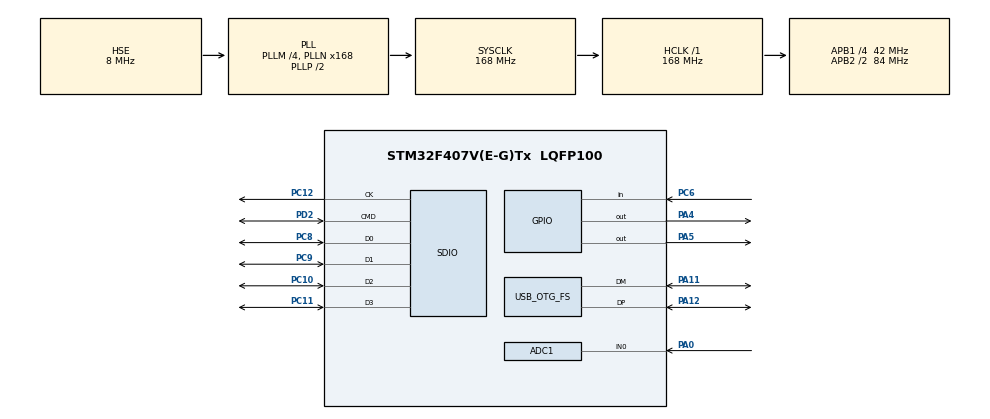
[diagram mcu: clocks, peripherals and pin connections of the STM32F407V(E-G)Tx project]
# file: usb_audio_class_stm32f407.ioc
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ADC1.Channel-0\#ChannelRegularConversion=ADC_CHANNEL_0
ADC1.DMAContinuousRequests=ENABLE
ADC1.ExternalTrigConv=ADC_EXTERNALTRIGCONV_T3_TRGO
ADC1.NbrOfConversionFlag=1
ADC1.Rank-0\#ChannelRegularConversion=1
ADC1.SamplingTime-0\#ChannelRegularConversion=ADC_SAMPLETIME_28CYCLES
ADC1.master=1
Dma.ADC1.2.Direction=DMA_PERIPH_TO_MEMORY
Dma.ADC1.2.FIFOMode=DMA_FIFOMODE_DISABLE
Dma.ADC1.2.Instance=DMA2_Stream0
Dma.ADC1.2.MemDataAlignment=DMA_MDATAALIGN_HALFWORD
Dma.ADC1.2.MemInc=DMA_MINC_ENABLE
Dma.ADC1.2.Mode=DMA_CIRCULAR
Dma.ADC1.2.PeriphDataAlignment=DMA_PDATAALIGN_HALFWORD
Dma.ADC1.2.PeriphInc=DMA_PINC_DISABLE
Dma.ADC1.2.Priority=DMA_PRIORITY_LOW
Dma.Request0=SDIO_RX
Dma.Request1=SDIO_TX
Dma.Request2=ADC1
Dma.SDIO_RX.0.Direction=DMA_PERIPH_TO_MEMORY
Dma.SDIO_RX.0.FIFOMode=DMA_FIFOMODE_ENABLE
Dma.SDIO_RX.0.FIFOThreshold=DMA_FIFO_THRESHOLD_FULL
Dma.SDIO_RX.0.Instance=DMA2_Stream3
Dma.SDIO_RX.0.MemBurst=DMA_MBURST_SINGLE
Dma.SDIO_RX.0.MemDataAlignment=DMA_MDATAALIGN_BYTE
Dma.SDIO_RX.0.MemInc=DMA_MINC_ENABLE
Dma.SDIO_RX.0.Mode=DMA_PFCTRL
Dma.SDIO_RX.0.PeriphBurst=DMA_PBURST_INC4
Dma.SDIO_RX.0.PeriphDataAlignment=DMA_PDATAALIGN_WORD
Dma.SDIO_RX.0.PeriphInc=DMA_PINC_DISABLE
Dma.SDIO_RX.0.Priority=DMA_PRIORITY_LOW
Dma.SDIO_TX.1.Direction=DMA_MEMORY_TO_PERIPH
Dma.SDIO_TX.1.FIFOMode=DMA_FIFOMODE_ENABLE
Dma.SDIO_TX.1.FIFOThreshold=DMA_FIFO_THRESHOLD_FULL
Dma.SDIO_TX.1.Instance=DMA2_Stream6
Dma.SDIO_TX.1.MemBurst=DMA_MBURST_INC4
Dma.SDIO_TX.1.MemDataAlignment=DMA_MDATAALIGN_WORD
Dma.SDIO_TX.1.MemInc=DMA_MINC_ENABLE
Dma.SDIO_TX.1.Mode=DMA_PFCTRL
Dma.SDIO_TX.1.PeriphBurst=DMA_PBURST_INC4
Dma.SDIO_TX.1.PeriphDataAlignment=DMA_PDATAALIGN_WORD
Dma.SDIO_TX.1.PeriphInc=DMA_PINC_DISABLE
Dma.SDIO_TX.1.Priority=DMA_PRIORITY_LOW
FATFS.USE_DMA_CODE_SD=1
FATFS._MAX_SS=512
FATFS._USE_LFN=3
Mcu.Family=STM32F4
Mcu.Name=STM32F407V(E-G)Tx
Mcu.Package=LQFP100
NVIC.DMA2_Stream0_IRQn=true\:0\:0\:false\:false\:true\:false\:true\:true
NVIC.DMA2_Stream3_IRQn=true\:6\:0\:true\:false\:true\:false\:true\:true
NVIC.DMA2_Stream6_IRQn=true\:6\:0\:true\:false\:true\:false\:true\:true
NVIC.OTG_FS_IRQn=true\:7\:0\:true\:false\:true\:false\:true\:true
NVIC.PriorityGroup=NVIC_PRIORITYGROUP_4
NVIC.SDIO_IRQn=true\:5\:0\:true\:false\:true\:true\:true\:true
PA0-WKUP.Signal=ADCx_IN0
PA11.Mode=Device_Only
PA11.Signal=USB_OTG_FS_DM
PA12.Mode=Device_Only
PA12.Signal=USB_OTG_FS_DP
PA13.Mode=Serial_Wire
PA13.Signal=SYS_JTMS-SWDIO
PA14.Mode=Serial_Wire
PA14.Signal=SYS_JTCK-SWCLK
PA4.Signal=GPIO_Output
PA5.Signal=GPIO_Output
PC10.GPIO_PuPd=GPIO_PULLUP
PC10.Mode=SD_4_bits_Wide_bus
PC10.Signal=SDIO_D2
PC11.GPIO_PuPd=GPIO_PULLUP
PC11.Mode=SD_4_bits_Wide_bus
PC11.Signal=SDIO_D3
PC12.Mode=SD_4_bits_Wide_bus
PC12.Signal=SDIO_CK
PC6.Signal=GPIO_Input
PC8.GPIO_PuPd=GPIO_PULLUP
PC8.Mode=SD_4_bits_Wide_bus
PC8.Signal=SDIO_D0
PC9.GPIO_PuPd=GPIO_PULLUP
PC9.Mode=SD_4_bits_Wide_bus
PC9.Signal=SDIO_D1
PD2.GPIO_PuPd=GPIO_PULLUP
PD2.Mode=SD_4_bits_Wide_bus
PD2.Signal=SDIO_CMD
PH0-OSC_IN.Mode=HSE-External-Oscillator
PH0-OSC_IN.Signal=RCC_OSC_IN
PH1-OSC_OUT.Mode=HSE-External-Oscillator
PH1-OSC_OUT.Signal=RCC_OSC_OUT
ProjectManager.HeapSize=0x1000
ProjectManager.StackSize=0x1000
ProjectManager.TargetToolchain=STM32CubeIDE
RCC.48MHZClocksFreq_Value=48000000
RCC.AHBFreq_Value=168000000
RCC.APB1CLKDivider=RCC_HCLK_DIV4
RCC.APB1Freq_Value=42000000
RCC.APB1TimFreq_Value=84000000
RCC.APB2CLKDivider=RCC_HCLK_DIV2
RCC.APB2Freq_Value=84000000
RCC.APB2TimFreq_Value=168000000
RCC.CortexFreq_Value=168000000
RCC.HCLKFreq_Value=168000000
RCC.HSE_VALUE=8000000
RCC.HSI_VALUE=16000000
RCC.LSE_VALUE=32768
RCC.PLLM=4
RCC.PLLN=168
RCC.PLLQ=7
RCC.SYSCLKFreq_VALUE=168000000
RCC.SYSCLKSource=RCC_SYSCLKSOURCE_PLLCLK
RCC.VCOOutputFreq_Value=336000000
SDIO.ClockDiv=3
SH.ADCx_IN0.0=ADC1_IN0,IN0
TIM3.Period=999
TIM3.Prescaler=0
TIM3.TIM_MasterOutputTrigger=TIM_TRGO_UPDATE
USB_DEVICE.CLASS_NAME_FS=MSC
USB_DEVICE.VirtualMode-MSC_FS=Msc
USB_DEVICE.VirtualModeFS=Msc_FS
USB_OTG_FS.Sof_enable=DISABLE
USB_OTG_FS.VirtualMode=Device_Only
VP_FATFS_VS_SDIO.Mode=SDIO
VP_TIM3_VS_ClockSourceINT.Mode=Internal
VP_USB_DEVICE_VS_USB_DEVICE_MSC_FS.Mode=MSC_FS
board=custom

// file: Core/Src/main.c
/* USER CODE BEGIN Header */
/**
  ******************************************************************************
  * @file           : main.c
  * @brief          : Main program body
  ******************************************************************************
  * @attention
  *
  * <h2><center>&copy; Copyright (c) 2022 STMicroelectronics.
  * All rights reserved.</center></h2>
  *
  * This software component is licensed by ST under BSD 3-Clause license,
  * the "License"; You may not use this file except in compliance with the
  * License. You may obtain a copy of the License at:
  *                        opensource.org/licenses/BSD-3-Clause
  *
  ******************************************************************************
  */
/* USER CODE END Header */

#include "main.h"
#include "fatfs.h"
#include "usb_device.h"

/* USER CODE BEGIN Includes */
#include "stdio.h"

/* USER CODE END Includes */

/* USER CODE BEGIN PD */
#define AUDIO_IN_PACKET 96
#define OSA_BUF_SIZE 16     /* ADC oversampling buffer. Make sure to state the correct
                                shift and offset amount in HAL_ADC_ConvCpltCallback() and
                                adjust the sampling frequency accordingly */
extern USBD_HandleTypeDef hUsbDeviceFS;
uint16_t adc_buffer[AUDI_IN_PACKET] = {0};

int16_t adc=0;
uint8_t flag=0;
uint8_t flag_open=0;
uint8_t end_conv_adc=0;
//uint8_t flag_adc=0;
//int16_t ps[AUDIO_IN_PACKET];
float adcV;
extern char SDPath[4];

FATFS fileSystem;
FIL testFile;
uint8_t testBuffer[16] = "4433 34445";
int16_t testBuffer2[AUDIO_IN_PACKET/2]={0};

UINT testBytes;
FRESULT res;
/* USER CODE END PD */

ADC_HandleTypeDef hadc1;
DMA_HandleTypeDef hdma_adc1;

SD_HandleTypeDef hsd;
DMA_HandleTypeDef hdma_sdio_rx;
DMA_HandleTypeDef hdma_sdio_tx;

TIM_HandleTypeDef htim3;

void SystemClock_Config(void);
static void MX_GPIO_Init(void);
static void MX_DMA_Init(void);
static void MX_TIM3_Init(void);
static void MX_SDIO_SD_Init(void);
static void MX_ADC1_Init(void);

/* USER CODE BEGIN 0 */

int _write(int file,char *ptr, int len){

			int i=0;
			for(i=0;i<len;i++){
				ITM_SendChar(*ptr++);
			}
				return len;
		}

void HAL_ADC_ConvCpltCallback(ADC_HandleTypeDef* hadc) {

	end_conv_adc = 1;

}

/* USER CODE END 0 */

int main(void)
 {

	/* MCU Configuration--------------------------------------------------------*/

	/* Reset of all peripherals, Initializes the Flash interface and the Systick. */
	HAL_Init();

	/* Configure the system clock */
	SystemClock_Config();

	/* Initialize all configured peripherals */
	MX_GPIO_Init();
	MX_DMA_Init();
	MX_USB_DEVICE_Init();
	MX_TIM3_Init();
	MX_SDIO_SD_Init();
	MX_FATFS_Init();
	MX_ADC1_Init();
	/* USER CODE BEGIN 2 */
//  HAL_TIM_Base_Start(&htim8);
	// HAL_ADC_Start_DMA(&hadc1, (uint32_t*)&adc, 1);
//  HAL_ADC_Start_IT(&hadc1);
	// HAL_ADC_Start_DMA(&hadc1, (uint32_t*)&adc_buffer, 20);
	HAL_ADC_Start_DMA(&hadc1, (uint32_t*) &adc_buffer, AUDIO_IN_PACKET / 2);
	HAL_TIM_Base_Start(&htim3);

	for (uint8_t i = 0; i < AUDIO_IN_PACKET / 2; i++) {
		testBuffer2[i] = 12 * i;
	}

	if (f_mount(&fileSystem, SDPath, 0) != FR_OK) {
		Error_Handler();
	}
	else {
		if (f_open(&testFile, "ERMAK.TXT", FA_CREATE_ALWAYS | FA_WRITE)
				!= FR_OK) {
			/* 'STM32.TXT' file Open for write Error */
			Error_Handler();
		}
		else {
			flag_open = 1;
//		end_conv_adc = 1;
//			for (uint8_t i = 0; i < AUDIO_IN_PACKET / 2; i++) {
//				f_printf(&testFile, "%d", adc_buffer[i]);
//				f_printf(&testFile, "%c", '\n');
//			}
//			res = f_close(&testFile);
		}

		/* USER CODE END 2 */

		/* Infinite loop */
		while (1) {

			/* USER CODE BEGIN 3 */
			if (flag_open == 1 && end_conv_adc == 1) {
				for (uint8_t i = 0; i < AUDIO_IN_PACKET / 2; i++) {
					f_printf(&testFile, "%d", adc_buffer[i]);
					f_printf(&testFile, "%c", '\n');
				}

				if (flag == 10) {
					res = f_close(&testFile);
					flag_open = 0;
				}

				flag++;
				end_conv_adc = 0;
			}

		}
	}
	/* USER CODE END 3 */
}

void SystemClock_Config(void)
{
  RCC_OscInitTypeDef RCC_OscInitStruct = {0};
  RCC_ClkInitTypeDef RCC_ClkInitStruct = {0};

  /** Configure the main internal regulator output voltage
  */
  __HAL_RCC_PWR_CLK_ENABLE();
  __HAL_PWR_VOLTAGESCALING_CONFIG(PWR_REGULATOR_VOLTAGE_SCALE1);
  /** Initializes the CPU, AHB and APB busses clocks
  */
  RCC_OscInitStruct.OscillatorType = RCC_OSCILLATORTYPE_HSE;
  RCC_OscInitStruct.HSEState = RCC_HSE_ON;
  RCC_OscInitStruct.PLL.PLLState = RCC_PLL_ON;
  RCC_OscInitStruct.PLL.PLLSource = RCC_PLLSOURCE_HSE;
  RCC_OscInitStruct.PLL.PLLM = 4;
  RCC_OscInitStruct.PLL.PLLN = 168;
  RCC_OscInitStruct.PLL.PLLP = RCC_PLLP_DIV2;
  RCC_OscInitStruct.PLL.PLLQ = 7;
  if (HAL_RCC_OscConfig(&RCC_OscInitStruct) != HAL_OK)
  {
    Error_Handler();
  }
  /** Initializes the CPU, AHB and APB busses clocks
  */
  RCC_ClkInitStruct.ClockType = RCC_CLOCKTYPE_HCLK|RCC_CLOCKTYPE_SYSCLK
                              |RCC_CLOCKTYPE_PCLK1|RCC_CLOCKTYPE_PCLK2;
  RCC_ClkInitStruct.SYSCLKSource = RCC_SYSCLKSOURCE_PLLCLK;
  RCC_ClkInitStruct.AHBCLKDivider = RCC_SYSCLK_DIV1;
  RCC_ClkInitStruct.APB1CLKDivider = RCC_HCLK_DIV4;
  RCC_ClkInitStruct.APB2CLKDivider = RCC_HCLK_DIV2;

  if (HAL_RCC_ClockConfig(&RCC_ClkInitStruct, FLASH_LATENCY_5) != HAL_OK)
  {
    Error_Handler();
  }
}

static void MX_ADC1_Init(void)
{

  ADC_ChannelConfTypeDef sConfig = {0};

  /** Configure the global features of the ADC (Clock, Resolution, Data Alignment and number of conversion)
  */
  hadc1.Instance = ADC1;
  hadc1.Init.ClockPrescaler = ADC_CLOCK_SYNC_PCLK_DIV4;
  hadc1.Init.Resolution = ADC_RESOLUTION_12B;
  hadc1.Init.ScanConvMode = DISABLE;
  hadc1.Init.ContinuousConvMode = DISABLE;
  hadc1.Init.DiscontinuousConvMode = DISABLE;
  hadc1.Init.ExternalTrigConvEdge = ADC_EXTERNALTRIGCONVEDGE_RISING;
  hadc1.Init.ExternalTrigConv = ADC_EXTERNALTRIGCONV_T3_TRGO;
  hadc1.Init.DataAlign = ADC_DATAALIGN_RIGHT;
  hadc1.Init.NbrOfConversion = 1;
  hadc1.Init.DMAContinuousRequests = ENABLE;
  hadc1.Init.EOCSelection = ADC_EOC_SINGLE_CONV;
  if (HAL_ADC_Init(&hadc1) != HAL_OK)
  {
    Error_Handler();
  }
  /** Configure for the selected ADC regular channel its corresponding rank in the sequencer and its sample time.
  */
  sConfig.Channel = ADC_CHANNEL_0;
  sConfig.Rank = 1;
  sConfig.SamplingTime = ADC_SAMPLETIME_28CYCLES;
  if (HAL_ADC_ConfigChannel(&hadc1, &sConfig) != HAL_OK)
  {
    Error_Handler();
  }

}

static void MX_SDIO_SD_Init(void)
{

  hsd.Instance = SDIO;
  hsd.Init.ClockEdge = SDIO_CLOCK_EDGE_RISING;
  hsd.Init.ClockBypass = SDIO_CLOCK_BYPASS_DISABLE;
  hsd.Init.ClockPowerSave = SDIO_CLOCK_POWER_SAVE_DISABLE;
  hsd.Init.BusWide = SDIO_BUS_WIDE_1B;
  hsd.Init.HardwareFlowControl = SDIO_HARDWARE_FLOW_CONTROL_DISABLE;
  hsd.Init.ClockDiv = 3;

}

static void MX_TIM3_Init(void)
{

  TIM_ClockConfigTypeDef sClockSourceConfig = {0};
  TIM_MasterConfigTypeDef sMasterConfig = {0};

  htim3.Instance = TIM3;
  htim3.Init.Prescaler = 0;
  htim3.Init.CounterMode = TIM_COUNTERMODE_UP;
  htim3.Init.Period = 999;
  htim3.Init.ClockDivision = TIM_CLOCKDIVISION_DIV1;
  htim3.Init.AutoReloadPreload = TIM_AUTORELOAD_PRELOAD_DISABLE;
  if (HAL_TIM_Base_Init(&htim3) != HAL_OK)
  {
    Error_Handler();
  }
  sClockSourceConfig.ClockSource = TIM_CLOCKSOURCE_INTERNAL;
  if (HAL_TIM_ConfigClockSource(&htim3, &sClockSourceConfig) != HAL_OK)
  {
    Error_Handler();
  }
  sMasterConfig.MasterOutputTrigger = TIM_TRGO_UPDATE;
  sMasterConfig.MasterSlaveMode = TIM_MASTERSLAVEMODE_DISABLE;
  if (HAL_TIMEx_MasterConfigSynchronization(&htim3, &sMasterConfig) != HAL_OK)
  {
    Error_Handler();
  }

}

static void MX_DMA_Init(void)
{

  /* DMA controller clock enable */
  __HAL_RCC_DMA2_CLK_ENABLE();

  /* DMA interrupt init */
  /* DMA2_Stream0_IRQn interrupt configuration */
  HAL_NVIC_SetPriority(DMA2_Stream0_IRQn, 0, 0);
  HAL_NVIC_EnableIRQ(DMA2_Stream0_IRQn);
  /* DMA2_Stream3_IRQn interrupt configuration */
  HAL_NVIC_SetPriority(DMA2_Stream3_IRQn, 6, 0);
  HAL_NVIC_EnableIRQ(DMA2_Stream3_IRQn);
  /* DMA2_Stream6_IRQn interrupt configuration */
  HAL_NVIC_SetPriority(DMA2_Stream6_IRQn, 6, 0);
  HAL_NVIC_EnableIRQ(DMA2_Stream6_IRQn);

}

static void MX_GPIO_Init(void)
{
  GPIO_InitTypeDef GPIO_InitStruct = {0};

  /* GPIO Ports Clock Enable */
  __HAL_RCC_GPIOH_CLK_ENABLE();
  __HAL_RCC_GPIOA_CLK_ENABLE();
  __HAL_RCC_GPIOC_CLK_ENABLE();
  __HAL_RCC_GPIOD_CLK_ENABLE();

  /*Configure GPIO pin Output Level */
  HAL_GPIO_WritePin(GPIOA, GPIO_PIN_4|GPIO_PIN_5, GPIO_PIN_RESET);

  /*Configure GPIO pins : PA4 PA5 */
  GPIO_InitStruct.Pin = GPIO_PIN_4|GPIO_PIN_5;
  GPIO_InitStruct.Mode = GPIO_MODE_OUTPUT_PP;
  GPIO_InitStruct.Pull = GPIO_NOPULL;
  GPIO_InitStruct.Speed = GPIO_SPEED_FREQ_LOW;
  HAL_GPIO_Init(GPIOA, &GPIO_InitStruct);

  /*Configure GPIO pin : PC6 */
  GPIO_InitStruct.Pin = GPIO_PIN_6;
  GPIO_InitStruct.Mode = GPIO_MODE_INPUT;
  GPIO_InitStruct.Pull = GPIO_NOPULL;
  HAL_GPIO_Init(GPIOC, &GPIO_InitStruct);

}

void Error_Handler(void)
{
}

/************************ (C) COPYRIGHT STMicroelectronics *****END OF FILE****/
